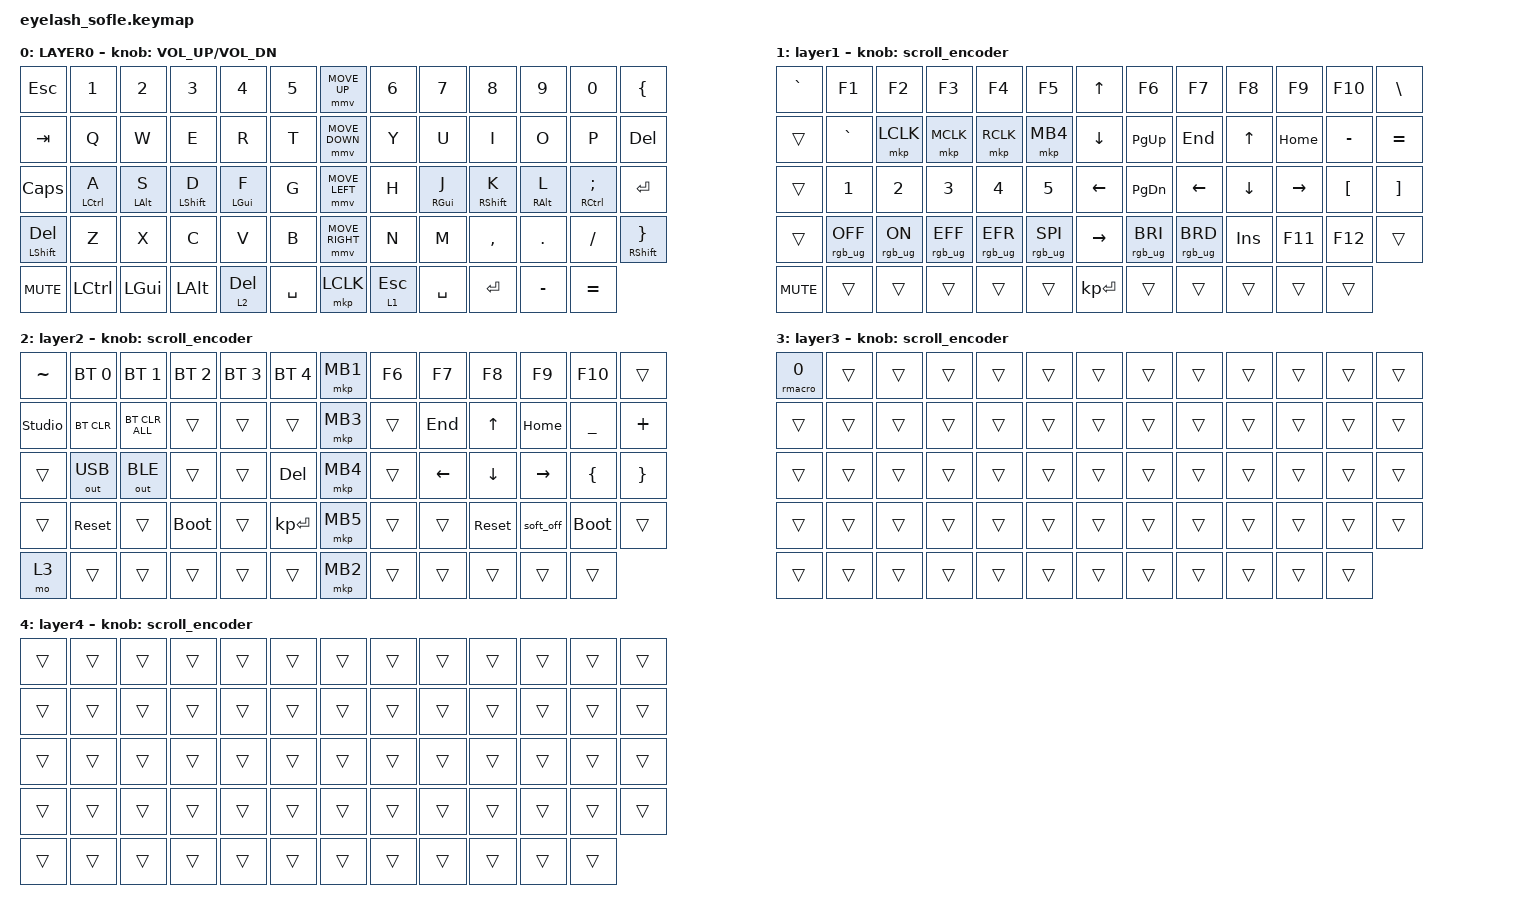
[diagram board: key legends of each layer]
#define ZMK_POINTING_DEFAULT_MOVE_VAL 1200
#define ZMK_POINTING_DEFAULT_SCRL_VAL 25

#include <input/processors.dtsi>
#include <input/processors/runtime-input-processor.dtsi>
#include <zephyr/dt-bindings/input/input-event-codes.h>
#include <behaviors.dtsi>
#include <behaviors/runtime_macro.dtsi>
#include <dt-bindings/zmk/bt.h>
#include <dt-bindings/zmk/keys.h>
#include <dt-bindings/zmk/outputs.h>
#include <dt-bindings/zmk/pointing.h>
#include <dt-bindings/zmk/rgb.h>

&mmv_input_listener { input-processors = <&zip_xy_scaler 2 1>; };
&msc_input_listener { input-processors = <&zip_scroll_scaler 2 1>; };

&msc {
    acceleration-exponent = <1>;
    time-to-max-speed-ms = <100>;
    delay-ms = <0>;
};

&mmv {
    time-to-max-speed-ms = <500>;
    acceleration-exponent = <1>;
    trigger-period-ms = <16>;
};

&soft_off { hold-time-ms = <2000>; };

/ {
    scroll_encoder: scroll_encoder {
        compatible = "zmk,behavior-sensor-rotate";
        #sensor-binding-cells = <0>;
        bindings = <&kp C_VOL_DN>, <&kp C_VOL_UP>;

        tap-ms = <100>;
    };

    HR_M: HR_M {
        compatible = "zmk,behavior-hold-tap";
        label = "HR_M";
        bindings = <&kp>, <&kp>;

        #binding-cells = <2>;
        flavor = "tap-preferred";
        tapping-term-ms = <220>;
        require-prior-idle-ms = <150>;
        quick-tap-ms = <0>;
    };

    behaviors {
    };

    combos {
        compatible = "zmk,combos";

        softoff {
            bindings = <&soft_off>;
            key-positions = <14 28 40>;
        };
    };

    macros {
        screenshot: screenshot {
            compatible = "zmk,behavior-macro";
            #binding-cells = <0>;
            bindings =
                <&macro_press &kp LEFT_GUI>,
                <&macro_press &kp LEFT_SHIFT>,
                <&macro_tap &kp S>,
                <&macro_release &kp LEFT_SHIFT>,
                <&macro_release &kp LEFT_GUI>;

            label = "SCREENSHOT";
        };
    };

    keymap {
        compatible = "zmk,keymap";

        layer0 {
            bindings = <
&kp ESC           &kp N1                &kp N2            &kp N3              &kp N4            &kp N5       &mmv MOVE_UP     &kp N6     &kp N7             &kp N8               &kp N9             &kp N0                    &kp LEFT_BRACE
&kp TAB           &kp Q                 &kp W             &kp E               &kp R             &kp T        &mmv MOVE_DOWN   &kp Y      &kp U              &kp I                &kp O              &kp P                     &kp DELETE
&kp CAPS          &HR_M LEFT_CONTROL A  &HR_M LEFT_ALT S  &HR_M LEFT_SHIFT D  &HR_M LEFT_GUI F  &kp G        &mmv MOVE_LEFT   &kp H      &HR_M RIGHT_GUI J  &HR_M RIGHT_SHIFT K  &HR_M RIGHT_ALT L  &HR_M RIGHT_CONTROL SEMI  &kp RET
&mt LSHFT DELETE  &kp Z                 &kp X             &kp C               &kp V             &kp B        &mmv MOVE_RIGHT  &kp N      &kp M              &kp COMMA            &kp DOT            &kp FSLH                  &mt RIGHT_SHIFT RIGHT_BRACE
&kp C_MUTE        &kp LCTRL             &kp LEFT_GUI      &kp LEFT_ALT        &lt 2 DEL         &kp SPACE    &mkp LCLK        &lt 1 ESC  &kp SPACE          &kp ENTER            &kp MINUS          &kp EQUAL
            >;

            sensor-bindings = <&inc_dec_kp C_VOLUME_UP C_VOL_DN>;
            display-name = "LAYER0";
        };

        layer_1 {
            bindings = <
&kp GRAVE   &kp F1           &kp F2          &kp F3           &kp F4           &kp F5             &kp UP_ARROW     &kp F6           &kp F7           &kp F8      &kp F9     &kp F10           &kp BACKSLASH
&trans      &kp GRAVE        &mkp LCLK       &mkp MCLK        &mkp RCLK        &mkp MB4           &kp DOWN_ARROW   &kp PG_UP        &kp END          &kp UP      &kp HOME   &kp MINUS         &kp EQUAL
&trans      &kp N1           &kp N2          &kp N3           &kp N4           &kp N5             &kp LEFT_ARROW   &kp PG_DN        &kp LEFT         &kp DOWN    &kp RIGHT  &kp LEFT_BRACKET  &kp RIGHT_BRACKET
&trans      &rgb_ug RGB_OFF  &rgb_ug RGB_ON  &rgb_ug RGB_EFF  &rgb_ug RGB_EFR  &rgb_ug RGB_SPI    &kp RIGHT_ARROW  &rgb_ug RGB_BRI  &rgb_ug RGB_BRD  &kp INSERT  &kp F11    &kp F12           &trans
&kp C_MUTE  &trans           &trans          &trans           &trans           &trans             &kp KP_ENTER     &trans           &trans           &trans      &trans     &trans
            >;

            display-name = "layer1";
            sensor-bindings = <&scroll_encoder>;
        };

        layer_2 {
            bindings = <
&kp TILDE       &bt BT_SEL 0  &bt BT_SEL 1    &bt BT_SEL 2  &bt BT_SEL 3  &bt BT_SEL 4    &mkp MB1  &kp F6  &kp F7          &kp F8          &kp F9           &kp F10      &trans
&studio_unlock  &bt BT_CLR    &bt BT_CLR_ALL  &trans        &trans        &trans          &mkp MB3  &trans  &kp END         &kp UP_ARROW    &kp HOME         &kp UNDER    &kp PLUS
&trans          &out OUT_USB  &out OUT_BLE    &trans        &trans        &kp DELETE      &mkp MB4  &trans  &kp LEFT_ARROW  &kp DOWN_ARROW  &kp RIGHT_ARROW  &kp LBRC     &kp RBRC
&trans          &sys_reset    &trans          &bootloader   &trans        &kp KP_ENTER    &mkp MB5  &trans  &trans          &sys_reset      &soft_off        &bootloader  &trans
&mo 3           &trans        &trans          &trans        &trans        &trans          &mkp MB2  &trans  &trans          &trans          &trans           &trans
            >;

            display-name = "layer2";
            sensor-bindings = <&scroll_encoder>;
        };

        layer_3 {
            bindings = <
&rmacro 0  &trans  &trans  &trans  &trans  &trans    &trans  &trans  &trans  &trans  &trans  &trans  &trans
&trans  &trans  &trans  &trans  &trans  &trans    &trans  &trans  &trans  &trans  &trans  &trans  &trans
&trans  &trans  &trans  &trans  &trans  &trans    &trans  &trans  &trans  &trans  &trans  &trans  &trans
&trans  &trans  &trans  &trans  &trans  &trans    &trans  &trans  &trans  &trans  &trans  &trans  &trans
&trans  &trans  &trans  &trans  &trans  &trans    &trans  &trans  &trans  &trans  &trans  &trans
            >;

            display-name = "layer3";
            sensor-bindings = <&scroll_encoder>;
        };

        layer_4 {
            bindings = <
&trans  &trans  &trans  &trans  &trans  &trans    &trans  &trans  &trans  &trans  &trans  &trans  &trans
&trans  &trans  &trans  &trans  &trans  &trans    &trans  &trans  &trans  &trans  &trans  &trans  &trans
&trans  &trans  &trans  &trans  &trans  &trans    &trans  &trans  &trans  &trans  &trans  &trans  &trans
&trans  &trans  &trans  &trans  &trans  &trans    &trans  &trans  &trans  &trans  &trans  &trans  &trans
&trans  &trans  &trans  &trans  &trans  &trans    &trans  &trans  &trans  &trans  &trans  &trans
            >;

            display-name = "layer4";
            sensor-bindings = <&scroll_encoder>;
        };
    };
};
